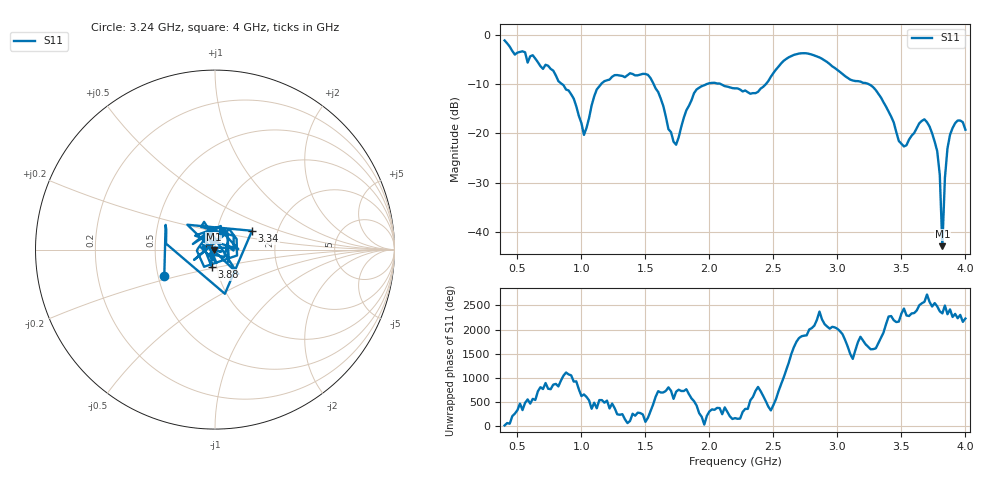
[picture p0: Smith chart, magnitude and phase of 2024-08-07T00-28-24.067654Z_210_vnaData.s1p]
!Created with skrf (http://scikit-rf.org).
# Hz S RI R 50.0
!freq ReS11 ImS11
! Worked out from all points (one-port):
!   181 points, 400 MHz to 4 GHz, reference 50 ohm
!   lowest |S11| = -42.8 dB at 3.82 GHz (marker M1), VSWR 1.01, Z = 49.3 + j0.0378 ohm
!   |S11| at or under -10 dB: 1.564 GHz to 1.979 GHz (415.1 MHz wide, 23.4 % of centre); 2.088 GHz to 2.442 GHz (354 MHz wide, 15.6 % of centre); 3.243 GHz to end of sweep (the widest 3 of 4)
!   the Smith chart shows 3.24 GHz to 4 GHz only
!   S11 on the Smith chart (normalised r, x): 3.24 GHz: 0.54, -0.17; 3.34 GHz: 1.48, +0.33; 3.88 GHz: 0.95, -0.18; 4 GHz: 1.05, +0.22
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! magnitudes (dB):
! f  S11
! 400 MHz  -1.2
! 860 MHz  -10.2
! 940 MHz  -12.9
! 1.02 GHz  -20.3
! 1.12 GHz  -11.1
! 1.3 GHz  -8.3
! 1.52 GHz  -8.1
! 1.62 GHz  -13.0
! 1.72 GHz  -21.7
! 1.76 GHz  -20.8
! 1.9 GHz  -11.1
! 2.2 GHz  -10.9
! 2.38 GHz  -11.6
! 2.66 GHz  -4.1
! 3.1 GHz  -9.1
! 3.24 GHz  -10.0
! 3.34 GHz  -12.7
! 3.48 GHz  -21.5
! 3.56 GHz  -21.2
! 3.68 GHz  -17.1
! 3.74 GHz  -20.0
! 3.78 GHz  -23.6
! 3.8 GHz  -28.4
! 3.82 GHz  -42.8
! 3.84 GHz  -29.0
! 3.88 GHz  -20.3
! 3.94 GHz  -17.4
! 4 GHz  -19.2
